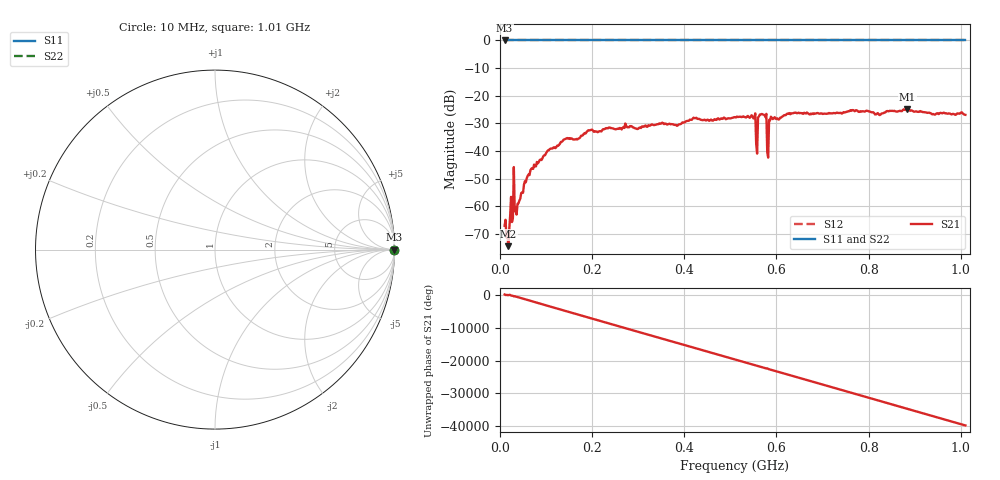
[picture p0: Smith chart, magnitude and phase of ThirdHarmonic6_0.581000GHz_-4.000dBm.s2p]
! 8/15/2025 6:45:32 PM
! C:\ANRITSUVNA\TEMP\TEMP.S2P
! CHANNEL.1
! TR.MEASUREMENT
! RAW.DATA
! RF.CORRECTION.OFF
! AVERAGING.OFF
! IF.BANDWIDTH: 5KHZ
! SWEEPTYPE:  FREQ.SWEEP(Linear)
! Reference Plane Port Info
! PORT:  PORT1  PORT2
! DISTANCE:  0  m  0  m
! TIME:  0  s  0  s
! PHASE.OFFSET:  0  deg.  0  deg.
! LOSS:  0  dB  0  dB
! REF.LOSS:  0  dB  0  dB
! REF.FREQ:  0  Hz  0  Hz
! Power Info
! POWER:  -20  dBm  -20  dBm
! EFF.POWER:  -20  dBm  -20  dBm
! SOURCE.ATTEN:  0  dB  0  dB
! TEST.ATTEN:  0  dB  0  dB
# GHZ S RI R 50.0
! FREQ.GHZ  S11RE  S11IM  S21RE  S21IM  S12RE  S12IM  S22RE  S22IM
!; PortSelection: Port_12
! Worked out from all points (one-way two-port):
!   501 points, 10 MHz to 1.01 GHz, reference 50 ohm
!   highest |S21| = -24.89 dB at 884 MHz (marker M1); lowest = -74.4 dB at 18 MHz (marker M2)
!   lowest |S11| = 0.0 dB at 10 MHz (marker M3)
!   |S11| at or under -10 dB: nowhere
!   |S22| runs from 0.0 to 0.0 dB; largest |S21 - S12| = 1.1
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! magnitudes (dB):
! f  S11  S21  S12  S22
! 10 MHz  0.0  -67.0  0.0  0.0
! 18 MHz  0.0  -74.4  0.0  0.0
! 26 MHz  0.0  -65.7  0.0  0.0
! 36 MHz  0.0  -63.0  0.0  0.0
! 70 MHz  0.0  -46.1  0.0  0.0
! 140 MHz  0.0  -35.8  0.0  0.0
! 178 MHz  0.0  -34.5  0.0  0.0
! 344 MHz  0.0  -30.3  0.0  0.0
! 510 MHz  0.0  -27.7  0.0  0.0
! 550 MHz  0.0  -28.2  0.0  0.0
! 554 MHz  0.0  -26.4  0.0  0.0
! 560 MHz  0.0  -27.8  0.0  0.0
! 564 MHz  0.0  -26.8  0.0  0.0
! 574 MHz  0.0  -27.0  0.0  0.0
! 578 MHz  0.0  -26.5  0.0  0.0
! 584 MHz  0.0  -28.7  0.0  0.0
! 588 MHz  0.0  -27.6  0.0  0.0
! 592 MHz  0.0  -28.4  0.0  0.0
! 678 MHz  0.0  -26.4  0.0  0.0
! 844 MHz  0.0  -25.6  0.0  0.0
! 884 MHz  0.0  -24.9  0.0  0.0
! 1.01 GHz  0.0  -26.9  0.0  0.0
